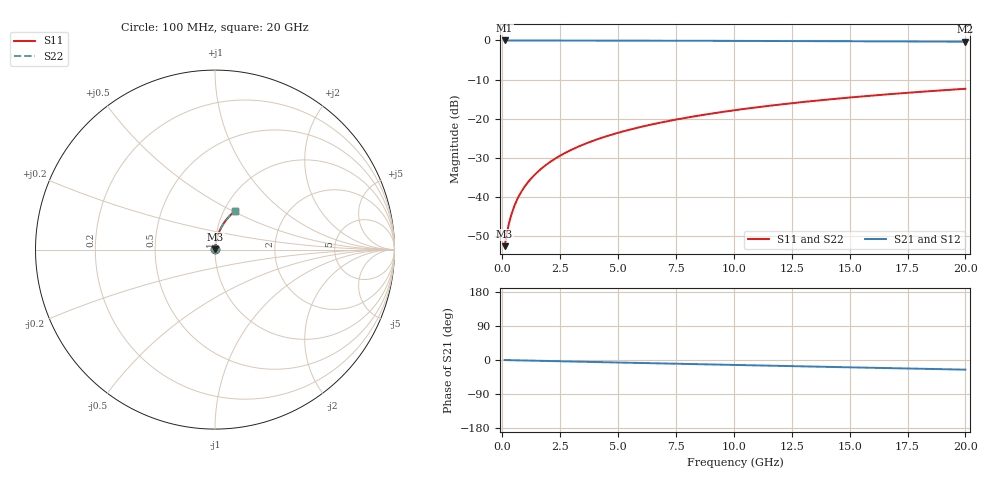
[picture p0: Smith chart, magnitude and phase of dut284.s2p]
! Touchstone file exported from HFSS 2026.1.0
!  File:  C:/ffzhzh/LocalFiles/Ansys_Project_Files/temp_train_BSMRDL_284_1782989165_40604.aedt
!  Generated:  06:47:20 PM Jul  2, 2026
!  Design:  BSMRDL
!  Project:  temp_train_BSMRDL_284_1782989165_40604
! Variables:
!  h_bsmrdl = 4.47um
!  h_ox = 20um
!  h_rdl = 5um
!  h_sub = 80um
!  h_tmrdl = 5um
!  h_tsv = 80um
!  h_via = 3um
!  l_bsmrdl = 359.37um
!  l_sub = 759.37um
!  l_tmrdl = 200um
!  m_sub = 200um
!  pitch = 38.37um
!  r_tsv = 6um
!  s_tmrdl = 10um
!  w_bsmrdl = 16.83um
!  w_sub = 500um
!  w_tmrdl = 12um
!  x_tsv_center1 = 206um
!  x_tsv_center2 = 582.2um
!  x_tsv_center3 = 794.2um
!  x_tsv_center4 = 1170.4um
!  x_tsv_center5 = 1382.4um
!  x_tsv_center6 = 1758.6um
# GHz S MA R 50.000000
! Terminal data exported
! Port[1] = BSM_RDL1_1_T1
! Port[2] = BSM_RDL1_1_T2
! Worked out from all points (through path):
!   200 points, 100 MHz to 20 GHz, reference 50 ohm
!   highest |S21| = -0.02 dB at 100 MHz (marker M1); lowest = -0.3 dB at 20 GHz (marker M2)
!   group delay of S21, straight-line fit = 3.53 ps
!   lowest |S11| = -52.6 dB at 100 MHz (marker M3), VSWR 1.00, Z = 50.2 + j0.146 ohm
!   |S11| at or under -10 dB: start of sweep to end of sweep
!   |S22| runs from -52.6 to -12.4 dB; largest |S21 - S12| = 2.3e-15
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0.1  0.002339 38.3  0.9982 -0.1  0.9982 -0.1  0.002339 38.3
! Gamma 0 0 0 0
! Port Impedance 50 0 50 0
0.2  0.003446 56.9  0.9981 -0.3  0.9981 -0.3  0.003448 56.9
0.3  0.004723 65.6  0.998 -0.4  0.998 -0.4  0.004724 65.5
0.4  0.006043 70.4  0.9979 -0.5  0.9979 -0.5  0.006043 70.3
0.5  0.007369 73.3  0.9979 -0.7  0.9979 -0.7  0.007368 73.2
0.6  0.008693 75.3  0.9978 -0.8  0.9978 -0.8  0.00869 75.2
0.8  0.01132 77.8  0.9977 -1.1  0.9977 -1.1  0.01132 77.7
1.1  0.01526 79.8  0.9976 -1.5  0.9976 -1.5  0.01525 79.8
1.5  0.02049 81.1  0.9974 -2.0  0.9974 -2.0  0.02049 81.1
1.8  0.02443 81.6  0.9972 -2.4  0.9972 -2.4  0.02442 81.6
2.1  0.02836 81.8  0.997 -2.8  0.997 -2.8  0.02835 81.8
2.7  0.0362 81.8  0.9965 -3.6  0.9965 -3.6  0.0362 81.8
3.5  0.04661 81.4  0.9957 -4.7  0.9957 -4.7  0.04661 81.4
4.2  0.05563 80.8  0.9949 -5.6  0.9949 -5.6  0.05563 80.8
5  0.06586 80.0  0.9939 -6.6  0.9939 -6.6  0.06586 80.0
5.9  0.07724 79.0  0.9927 -7.8  0.9927 -7.8  0.07724 79.0
6.8  0.08849 78.0  0.9914 -9.0  0.9914 -9.0  0.08849 78.0
8.3  0.107 76.3  0.9889 -10.9  0.9889 -10.9  0.107 76.3
10.1  0.1288 74.2  0.9857 -13.2  0.9857 -13.2  0.1288 74.2
13.4  0.1677 70.3  0.979 -17.3  0.979 -17.3  0.1677 70.3
16.7  0.2051 66.5  0.9712 -21.4  0.9712 -21.4  0.2051 66.5
20  0.2407 62.6  0.9624 -25.5  0.9624 -25.5  0.2407 62.6
